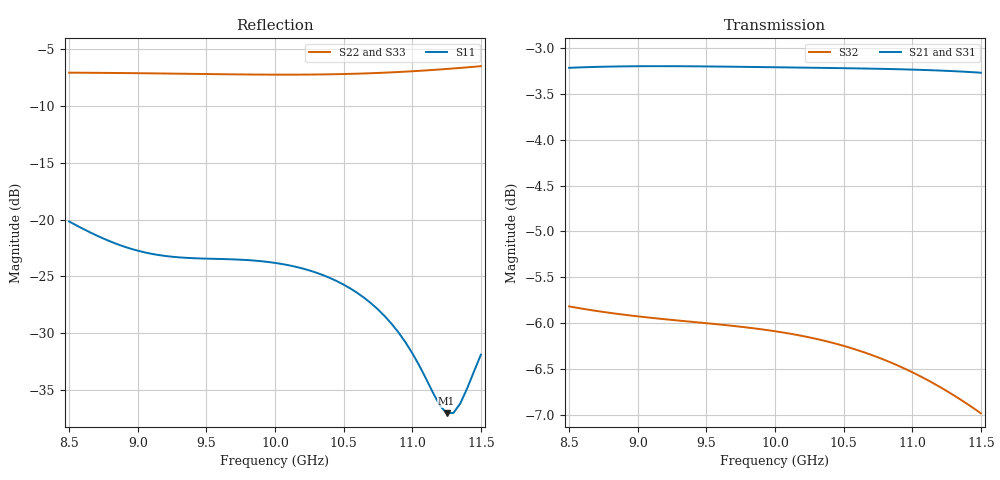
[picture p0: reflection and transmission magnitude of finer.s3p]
! yapnr rf: divider-x10, footprint re-simulated (refine 3)
! spec sha256 ebfea4ffd0e4fa7859ad9e810227fbb437c0960cb2a10d4053162c36b793aa05
! 3 ports renormalized to 50 ohm, e^(+jwt) convention
# GHz S RI R 50
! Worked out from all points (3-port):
!   61 points, 8.5 GHz to 11.5 GHz, reference 50 ohm
!   strongest paths, dB at 8.5 GHz, 9.25 GHz, 10 GHz, 10.75 GHz, 11.5 GHz:
!     S21: -3.2, -3.2, -3.2, -3.2, -3.3
!     S31: -3.2, -3.2, -3.2, -3.2, -3.3
!     S32: -5.8, -6.0, -6.1, -6.4, -7.0
!   lowest |S11| = -37.1 dB at 11.25 GHz (marker M1), VSWR 1.03, Z = 51.1 + j0.922 ohm
!   |S11| at or under -10 dB: start of sweep to end of sweep
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8.5  -0.0136 0.0972  -0.5838 0.3762  -0.5838 0.3762
     -0.5805 0.3737  -0.3919 0.2097  0.4799 -0.1782
     -0.5805 0.3737  0.4799 -0.1782  -0.3919 0.2097
8.9  -0.0253 0.0718  -0.5013 0.4829  -0.5013 0.4829
     -0.498 0.4799  -0.3266 0.2988  0.3955 -0.3166
     -0.498 0.4799  0.3955 -0.3166  -0.3266 0.2988
9.3  -0.0367 0.0575  -0.399 0.5709  -0.399 0.5709
     -0.3958 0.5673  -0.2312 0.3742  0.2715 -0.4233
     -0.3958 0.5673  0.2715 -0.4233  -0.2312 0.3742
10  -0.0409 0.0498  -0.1857 0.6712  -0.1857 0.6712
    -0.1828 0.6662  0.00199 0.4356  -0.00833 -0.4962
    -0.1828 0.6662  -0.00833 -0.4962  0.00199 0.4356
10.4  -0.0307 0.046  -0.0514 0.6946  -0.0514 0.6946
      -0.0491 0.6885  0.1554 0.4086  -0.1737 -0.4577
      -0.0491 0.6885  -0.1737 -0.4577  0.1554 0.4086
10.7  -0.0178 0.0389  0.052 0.6945  0.052 0.6945
      0.0536 0.6876  0.2658 0.3531  -0.2825 -0.3903
      0.0536 0.6876  -0.2825 -0.3903  0.2658 0.3531
10.95  -0.0049 0.0284  0.1382 0.6824  0.1382 0.6824
       0.139 0.6748  0.3471 0.2849  -0.3551 -0.3129
       0.139 0.6748  -0.3551 -0.3129  0.3471 0.2849
11.25  0.0107 0.00902  0.2398 0.6531  0.2398 0.6531
       0.2393 0.6448  0.4244 0.1811  -0.4137 -0.2022
       0.2393 0.6448  -0.4137 -0.2022  0.4244 0.1811
11.35  0.0155 0.000785  0.2727 0.6397  0.2727 0.6397
       0.2717 0.6312  0.4442 0.1425  -0.4256 -0.1627
       0.2717 0.6312  -0.4256 -0.1627  0.4442 0.1425
11.5  0.0217 -0.0132  0.321 0.6161  0.321 0.6161
      0.3191 0.6074  0.4676 0.0817  -0.4358 -0.1025
      0.3191 0.6074  -0.4358 -0.1025  0.4676 0.0817
